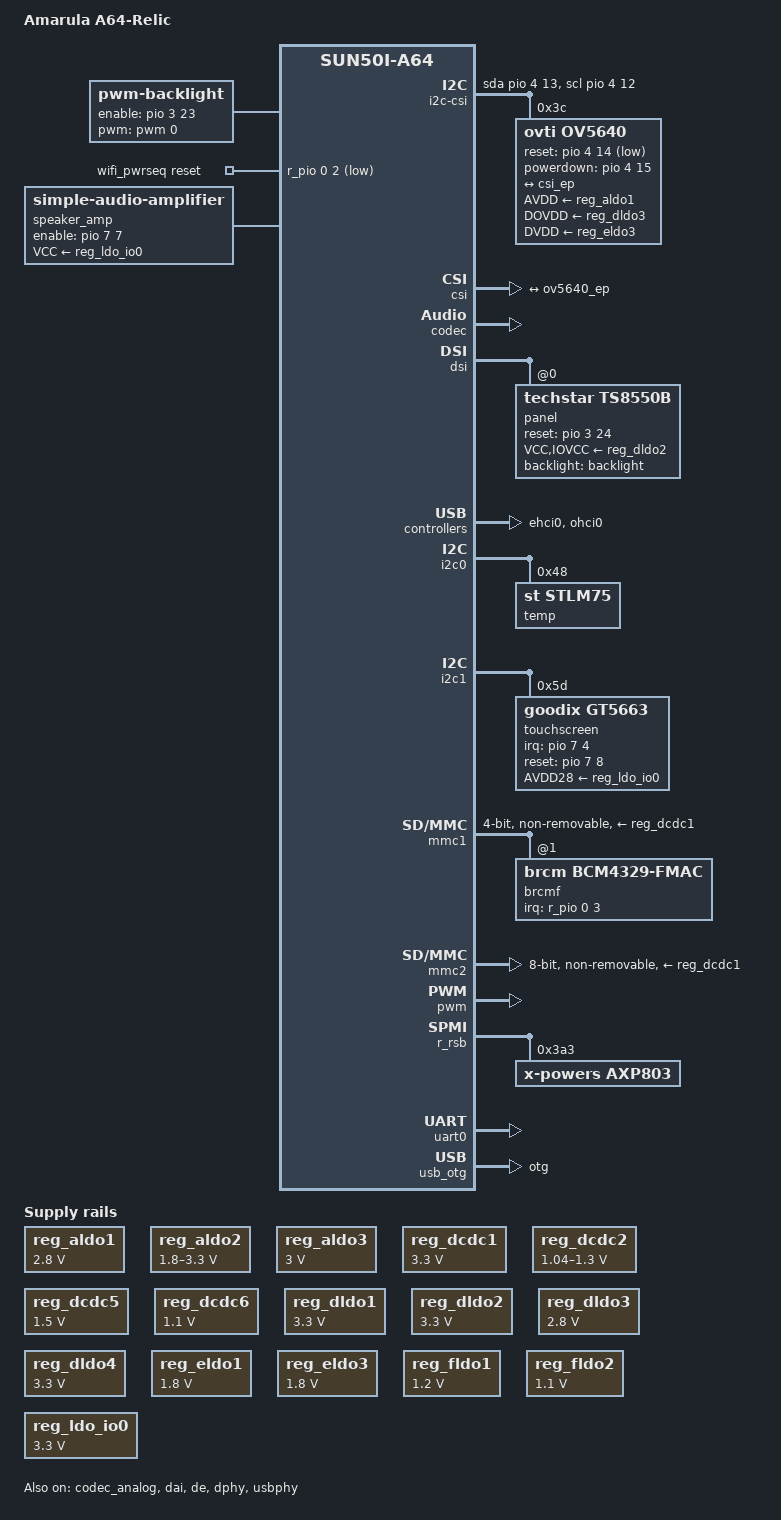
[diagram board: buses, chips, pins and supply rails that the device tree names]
// SPDX-License-Identifier: (GPL-2.0+ OR MIT)
/*
 * Copyright (C) 2018 Amarula Solutions B.V.
 * Author: Jagan Teki <jagan@amarulasolutions.com>
 */

/dts-v1/;

#include "sun50i-a64.dtsi"

#include <dt-bindings/gpio/gpio.h>
#include <dt-bindings/pwm/pwm.h>

/ {
	model = "Amarula A64-Relic";
	compatible = "amarula,a64-relic", "allwinner,sun50i-a64";

	aliases {
		serial0 = &uart0;
	};

	backlight: backlight {
		compatible = "pwm-backlight";
		pwms = <&pwm 0 50000 PWM_POLARITY_INVERTED>;
		brightness-levels = <1 2 4 8 16 32 64 128 512>;
		default-brightness-level = <2>;
		enable-gpios = <&pio 3 23 GPIO_ACTIVE_HIGH>; /* LCD-BL-EN: PD23 */
	};

	chosen {
		stdout-path = "serial0:115200n8";
	};

	i2c-csi {
		compatible = "i2c-gpio";
		sda-gpios = <&pio 4 13 GPIO_ACTIVE_HIGH>; /* CSI-SDA: PE13 */
		scl-gpios = <&pio 4 12 GPIO_ACTIVE_HIGH>; /* CSI-SCK: PE12 */
		i2c-gpio,delay-us = <5>;
		#address-cells = <1>;
		#size-cells = <0>;

		ov5640: camera@3c {
			compatible = "ovti,ov5640";
			reg = <0x3c>;
			pinctrl-names = "default";
			pinctrl-0 = <&csi_mclk_pin>;
			clocks = <&ccu CLK_CSI_MCLK>;
			clock-names = "xclk";

			AVDD-supply = <&reg_aldo1>;
			DOVDD-supply = <&reg_dldo3>;
			DVDD-supply = <&reg_eldo3>;
			reset-gpios = <&pio 4 14 GPIO_ACTIVE_LOW>; /* CSI-RST-R: PE14 */
			powerdown-gpios = <&pio 4 15 GPIO_ACTIVE_HIGH>; /* CSI-STBY-R: PE15 */

			port {
				ov5640_ep: endpoint {
					remote-endpoint = <&csi_ep>;
					bus-width = <8>;
					hsync-active = <1>; /* Active high */
					vsync-active = <0>; /* Active low */
					data-active = <1>;  /* Active high */
					pclk-sample = <1>;  /* Rising */
				};
			};
		};
	};

	wifi_pwrseq: wifi-pwrseq {
		compatible = "mmc-pwrseq-simple";
		clocks = <&rtc 1>;
		clock-names = "ext_clock";
		reset-gpios = <&r_pio 0 2 GPIO_ACTIVE_LOW>; /* WL-PMU-EN: PL2 */
	};

	speaker_amp: audio-amplifier {
		compatible = "simple-audio-amplifier";
		/*
		 * TODO This is actually a fixed regulator controlled by
		 * the GPIO line on the PMIC. This should be corrected
		 * once GPIO support is added for this PMIC.
		 */
		VCC-supply = <&reg_ldo_io0>;
		enable-gpios = <&pio 7 7 GPIO_ACTIVE_HIGH>; /* PA-SHDN: PH7 */
		sound-name-prefix = "Speaker Amp";
	};
};

&csi {
	status = "okay";

	port {
		#address-cells = <1>;
		#size-cells = <0>;

		csi_ep: endpoint {
			remote-endpoint = <&ov5640_ep>;
			bus-width = <8>;
			hsync-active = <1>; /* Active high */
			vsync-active = <0>; /* Active low */
			data-active = <1>;  /* Active high */
			pclk-sample = <1>;  /* Rising */
		};
	};
};

&codec {
	status = "okay";
};

&codec_analog {
	hpvcc-supply = <&reg_eldo1>;
	status = "okay";
};

&dai {
	status = "okay";
};

&de {
	status = "okay";
};

&dphy {
	status = "okay";
};

&dsi {
	vcc-dsi-supply = <&reg_dldo1>;
	#address-cells = <1>;
	#size-cells = <0>;
	status = "okay";

	panel@0 {
		compatible = "techstar,ts8550b", "sitronix,st7701";
		reg = <0>;
		VCC-supply = <&reg_dldo2>;
		IOVCC-supply = <&reg_dldo2>;
		reset-gpios = <&pio 3 24 GPIO_ACTIVE_HIGH>; /* LCD-RST: PD24 */
		backlight = <&backlight>;
	};
};

&ehci0 {
	status = "okay";
};

&i2c0 {
	pinctrl-names = "default";
	pinctrl-0 = <&i2c0_pins>;
	status = "okay";

	temp@48 {
		compatible = "st,stlm75";
		reg = <0x48>;
	};
};

&i2c0_pins {
	bias-pull-up;
};

&i2c1 {
	pinctrl-names = "default";
	pinctrl-0 = <&i2c1_pins>;
	status = "okay";

	touchscreen@5d {
		compatible = "goodix,gt5663";
		reg = <0x5d>;
		AVDD28-supply = <&reg_ldo_io0>;			/* VCC-CTP: GPIO0-LDO */
		interrupt-parent = <&pio>;
		interrupts = <7 4 IRQ_TYPE_EDGE_FALLING>;
		irq-gpios = <&pio 7 4 GPIO_ACTIVE_HIGH>;	/* CTP-INT: PH4 */
		reset-gpios = <&pio 7 8 GPIO_ACTIVE_HIGH>;	/* CTP-RST: PH8 */
	};
};

&i2c1_pins {
	bias-pull-up;
};

&mmc1 {
	pinctrl-names = "default";
	pinctrl-0 = <&mmc1_pins>;
	vmmc-supply = <&reg_dcdc1>;
	/*
	 * Schematic shows both dldo4 and eldo1 connected for vcc-io-wifi, but
	 * dldo4 connection shows DNP(Do Not Populate) and eldo1 connected with
	 * 0Ohm register to vcc-io-wifi so eldo1 is used.
	 */
	vqmmc-supply = <&reg_eldo1>;
	mmc-pwrseq = <&wifi_pwrseq>;
	bus-width = <4>;
	non-removable;
	status = "okay";

	brcmf: wifi@1 {
		reg = <1>;
		compatible = "brcm,bcm4329-fmac";
		interrupt-parent = <&r_pio>;
		interrupts = <0 3 IRQ_TYPE_LEVEL_LOW>;	/* WL-WAKE-AP: PL3 */
		interrupt-names = "host-wake";
	};
};

&mmc2 {
	pinctrl-names = "default";
	pinctrl-0 = <&mmc2_pins>;
	vmmc-supply = <&reg_dcdc1>;
	bus-width = <8>;
	non-removable;
	cap-mmc-hw-reset;
	status = "okay";
};

&ohci0 {
	status = "okay";
};

&pwm {
	pinctrl-names = "default";
	pinctrl-0 = <&pwm_pin>;
	status = "okay";
};

&r_rsb {
	status = "okay";

	axp803: pmic@3a3 {
		compatible = "x-powers,axp803";
		reg = <0x3a3>;
		interrupt-parent = <&r_intc>;
		interrupts = <0 IRQ_TYPE_LEVEL_LOW>;
		x-powers,drive-vbus-en; /* set N_VBUSEN as output pin */
	};
};

#include "axp803.dtsi"

&reg_aldo1 {
	regulator-always-on;
	regulator-min-microvolt = <2800000>;
	regulator-max-microvolt = <2800000>;
	regulator-name = "avdd-csi";
};

&reg_aldo2 {
	regulator-always-on;
	regulator-min-microvolt = <1800000>;
	regulator-max-microvolt = <3300000>;
	regulator-name = "vcc-pl";
};

&reg_aldo3 {
	regulator-always-on;
	regulator-min-microvolt = <3000000>;
	regulator-max-microvolt = <3000000>;
	regulator-name = "vcc-pll-avcc";
};

&reg_dcdc1 {
	regulator-always-on;
	regulator-min-microvolt = <3300000>;
	regulator-max-microvolt = <3300000>;
	regulator-name = "vcc-3v3";
};

&reg_dcdc2 {
	regulator-always-on;
	regulator-min-microvolt = <1040000>;
	regulator-max-microvolt = <1300000>;
	regulator-name = "vdd-cpux";
};

/* DCDC3 is polyphased with DCDC2 */

&reg_dcdc5 {
	regulator-always-on;
	regulator-min-microvolt = <1500000>;
	regulator-max-microvolt = <1500000>;
	regulator-name = "vcc-dram";
};

&reg_dcdc6 {
	regulator-always-on;
	regulator-min-microvolt = <1100000>;
	regulator-max-microvolt = <1100000>;
	regulator-name = "vdd-sys";
};

&reg_dldo1 {
	regulator-min-microvolt = <3300000>;
	regulator-max-microvolt = <3300000>;
	regulator-name = "vcc-hdmi-dsi-sensor";
};

&reg_dldo2 {
	regulator-min-microvolt = <3300000>;
	regulator-max-microvolt = <3300000>;
	regulator-name = "vcc-mipi";
};

&reg_dldo3 {
	regulator-min-microvolt = <2800000>;
	regulator-max-microvolt = <2800000>;
	regulator-name = "dovdd-csi";
};

&reg_dldo4 {
	regulator-min-microvolt = <3300000>;
	regulator-max-microvolt = <3300000>;
	regulator-name = "vcc-wifi-io";
};

&reg_drivevbus {
	regulator-name = "usb0-vbus";
	status = "okay";
};

&reg_eldo1 {
	regulator-always-on;
	regulator-min-microvolt = <1800000>;
	regulator-max-microvolt = <1800000>;
	regulator-name = "cpvdd";
};

&reg_eldo3 {
	regulator-min-microvolt = <1800000>;
	regulator-max-microvolt = <1800000>;
	regulator-name = "dvdd-csi";
};

&reg_fldo1 {
	regulator-min-microvolt = <1200000>;
	regulator-max-microvolt = <1200000>;
	regulator-name = "vcc-1v2-hsic";
};

/*
 * The A64 chip cannot work without this regulator off, although
 * it seems to be only driving the AR100 core.
 * Maybe we don't still know well about CPUs domain.
 */
&reg_fldo2 {
	regulator-always-on;
	regulator-min-microvolt = <1100000>;
	regulator-max-microvolt = <1100000>;
	regulator-name = "vdd-cpus";
};

&reg_ldo_io0 {
	regulator-min-microvolt = <3300000>;
	regulator-max-microvolt = <3300000>;
	regulator-name = "vcc-ctp";
	status = "okay";
};

&reg_rtc_ldo {
	regulator-name = "vcc-rtc";
};

&sound {
	status = "okay";
	simple-audio-card,aux-devs = <&codec_analog>, <&speaker_amp>;
	simple-audio-card,widgets = "Speaker", "Internal Speaker";
	simple-audio-card,routing = "Speaker Amp INL", "LINEOUT",
				    "Speaker Amp INR", "LINEOUT";
};

&uart0 {
	pinctrl-names = "default";
	pinctrl-0 = <&uart0_pb_pins>;
	status = "okay";
};

&usb_otg {
	dr_mode = "otg";
	status = "okay";
};

&usbphy {
	usb0_id_det-gpios = <&pio 7 9 GPIO_ACTIVE_HIGH>; /* PH9 */
	usb0_vbus-supply = <&reg_drivevbus>;
	status = "okay";
};
